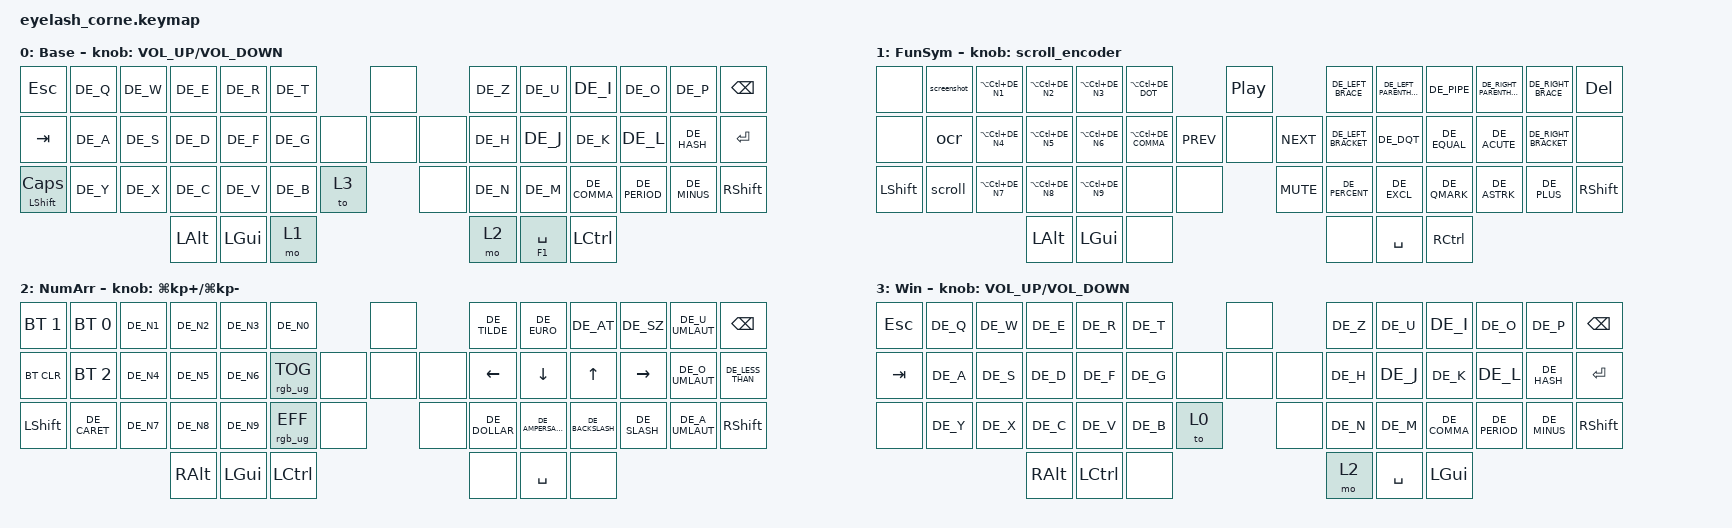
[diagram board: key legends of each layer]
#include <dt-bindings/zmk/mouse.h>
#include <input/processors.dtsi>
#include "keys_de.h"
#include <behaviors.dtsi>
#include <dt-bindings/zmk/bt.h>
#include <dt-bindings/zmk/keys.h>
#include <dt-bindings/zmk/pointing.h>
#include <dt-bindings/zmk/rgb.h>

/*

   &mmv_input_listener {
       input-processors = <&zip_xy_scaler 2 1>;
   };

   &msc_input_listener {
       input-processors = <&zip_xy_scaler 2 1>;
   };

 */

#define ZMK_MOUSE_DEFAULT_MOVE_VAL 1200  // 600
#define ZMK_MOUSE_DEFAULT_SCRL_VAL 20    // 10

&mt {
    flavor = "tap-preferred";
    require-prior-idle-ms = <125>;
};

/ {
    behaviors {
    };

    rgb_encoder: rgb_encoder {
        compatible = "zmk,behavior-sensor-rotate";
        #sensor-binding-cells = <0>;
        bindings = <&rgb_ug RGB_BRI>, <&rgb_ug RGB_BRD>;
    };

    scroll_encoder: scroll_encoder {
        compatible = "zmk,behavior-sensor-rotate";
        #sensor-binding-cells = <0>;
        bindings = <&msc SCRL_DOWN>, <&msc SCRL_UP>;

        tap-ms = <30>;
    };

    shift_caps: shift_caps {
        compatible = "zmk,behavior-hold-tap";
        label = "SHIFT_CAPS";
        bindings = <&kp>, <&kp>;

        #binding-cells = <2>;
        tapping-term-ms = <200>;
        flavor = "hold-preferred";
    };

    macros {
        gif_rec: new_macro {
            compatible = "zmk,behavior-macro";
            #binding-cells = <0>;
            bindings = <&kp LS(LG(LA(DE_G)))>;
            label = "NEW_MACRO";
        };

        screenshot: screenshot {
            compatible = "zmk,behavior-macro";
            #binding-cells = <0>;
            bindings = <&kp LG(LS(DE_N4))>;
            label = "SCREENSHOT";
        };

        ocr: ocr {
            compatible = "zmk,behavior-macro";
            #binding-cells = <0>;
            bindings = <&kp LS(LG(DE_N2))>;
            label = "OCR";
        };

        scroll: scroll {
            compatible = "zmk,behavior-macro";
            #binding-cells = <0>;
            bindings = <&kp LS(LG(DE_N1))>;
            label = "SCROLL";
        };
    };

    combos { compatible = "zmk,combos"; };

    keymap {
        compatible = "zmk,keymap";

        Base {
            display-name = "Base";
            bindings = <
&kp ESC                          &kp DE_Q  &kp DE_W  &kp DE_E      &kp DE_R      &kp DE_T                  &none         &kp DE_Z  &kp DE_U      &kp DE_I      &kp DE_O       &kp DE_P      &kp BSPC
&kp TAB                          &kp DE_A  &kp DE_S  &kp DE_D      &kp DE_F      &kp DE_G           &none  &none  &none  &kp DE_H  &kp DE_J      &kp DE_K      &kp DE_L       &kp DE_HASH   &kp ENTER
&shift_caps LEFT_SHIFT CAPSLOCK  &kp DE_Y  &kp DE_X  &kp DE_C      &kp DE_V      &kp DE_B  &to 3           &none         &kp DE_N  &kp DE_M      &kp DE_COMMA  &kp DE_PERIOD  &kp DE_MINUS  &kp RSHIFT
                                                     &kp LEFT_ALT  &kp LEFT_GUI  &mo 1                                   &mo 2     &mt F1 SPACE  &kp LCTRL
            >;

            sensor-bindings = <&inc_dec_kp C_VOLUME_UP C_VOLUME_DOWN>;
        };

        FuncSym {
            display-name = "FunSym";
            bindings = <
&none       &screenshot  &kp LA(LC(DE_N1))  &kp LA(LC(DE_N2))  &kp LA(LC(DE_N3))  &kp LA(LC(DE_DOT))                         &kp C_PP                &kp DE_LEFT_BRACE    &kp DE_LEFT_PARENTHESIS  &kp DE_PIPE   &kp DE_RIGHT_PARENTHESIS  &kp DE_RIGHT_BRACE    &kp DELETE
&none       &ocr         &kp LA(LC(DE_N4))  &kp LA(LC(DE_N5))  &kp LA(LC(DE_N6))  &kp LA(LC(DE_COMMA))           &kp C_PREV  &none       &kp C_NEXT  &kp DE_LEFT_BRACKET  &kp DE_DQT               &kp DE_EQUAL  &kp DE_ACUTE              &kp DE_RIGHT_BRACKET  &none
&kp LSHIFT  &scroll      &kp LA(LC(DE_N7))  &kp LA(LC(DE_N8))  &kp LA(LC(DE_N9))  &none                 &none                &kp C_MUTE              &kp DE_PERCENT       &kp DE_EXCL              &kp DE_QMARK  &kp DE_ASTRK              &kp DE_PLUS           &kp RIGHT_SHIFT
                                            &kp LEFT_ALT       &kp LEFT_GUI       &none                                                              &none                &kp SPACE                &kp RCTRL
            >;

            sensor-bindings = <&scroll_encoder>;
        };

        NumArrow {
            display-name = "NumArr";
            bindings = <
&bt BT_SEL 1    &bt BT_SEL 0  &kp DE_N1  &kp DE_N2      &kp DE_N3     &kp DE_N0                        &none         &kp DE_TILDE   &kp DE_EURO       &kp DE_AT         &kp DE_SZ     &kp DE_U_UMLAUT  &kp BSPC
&bt BT_CLR      &bt BT_SEL 2  &kp DE_N4  &kp DE_N5      &kp DE_N6     &rgb_ug RGB_TOG           &none  &none  &none  &kp LEFT       &kp DOWN          &kp UP            &kp RIGHT     &kp DE_O_UMLAUT  &kp DE_LESS_THAN
&kp LEFT_SHIFT  &kp DE_CARET  &kp DE_N7  &kp DE_N8      &kp DE_N9     &rgb_ug RGB_EFF  &none           &none         &kp DE_DOLLAR  &kp DE_AMPERSAND  &kp DE_BACKSLASH  &kp DE_SLASH  &kp DE_A_UMLAUT  &kp RIGHT_SHIFT
                                         &kp RIGHT_ALT  &kp LEFT_GUI  &kp LCTRL                                      &none          &kp SPACE         &none
            >;

            sensor-bindings = <&inc_dec_kp LG(KP_PLUS) LG(KP_MINUS)>;
        };

        Windows {
            display-name = "Win";
            bindings = <
&kp ESC  &kp DE_Q  &kp DE_W  &kp DE_E       &kp DE_R   &kp DE_T                  &none         &kp DE_Z  &kp DE_U   &kp DE_I      &kp DE_O       &kp DE_P      &kp BSPC
&kp TAB  &kp DE_A  &kp DE_S  &kp DE_D       &kp DE_F   &kp DE_G           &none  &none  &none  &kp DE_H  &kp DE_J   &kp DE_K      &kp DE_L       &kp DE_HASH   &kp RET
&none    &kp DE_Y  &kp DE_X  &kp DE_C       &kp DE_V   &kp DE_B  &to 0           &none         &kp DE_N  &kp DE_M   &kp DE_COMMA  &kp DE_PERIOD  &kp DE_MINUS  &kp RSHIFT
                             &kp RIGHT_ALT  &kp LCTRL  &none                                   &mo 2     &kp SPACE  &kp LEFT_GUI
            >;

            sensor-bindings = <&inc_dec_kp C_VOLUME_UP C_VOLUME_DOWN>;
        };
    };
};
